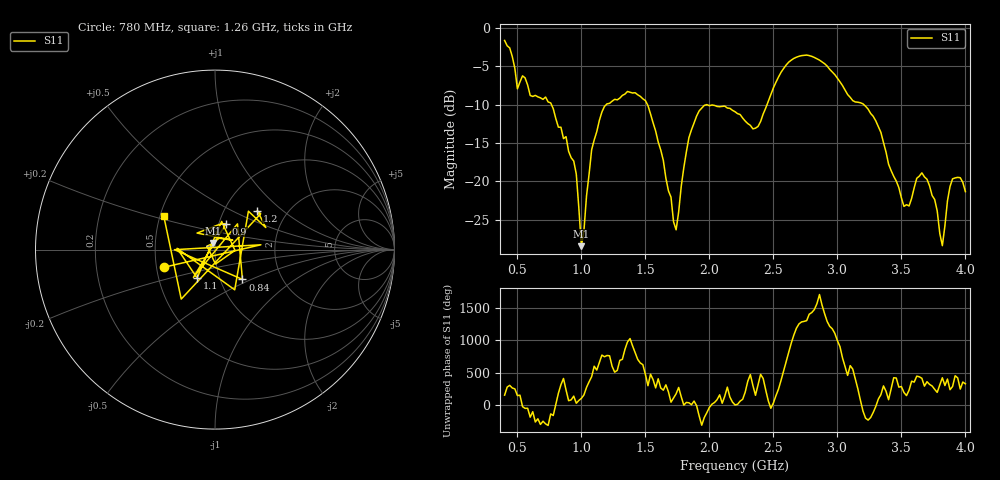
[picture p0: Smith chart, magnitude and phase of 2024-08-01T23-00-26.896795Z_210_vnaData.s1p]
!Created with skrf (http://scikit-rf.org).
# Hz S RI R 50.0
!freq ReS11 ImS11
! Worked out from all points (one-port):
!   181 points, 400 MHz to 4 GHz, reference 50 ohm
!   lowest |S11| = -28.4 dB at 1 GHz (marker M1), VSWR 1.08, Z = 49 + j3.62 ohm
!   |S11| at or under -10 dB: 1.517 GHz to 1.975 GHz (458.5 MHz wide, 26.3 % of centre); 1.983 GHz to 2.45 GHz (466.4 MHz wide, 21 % of centre); 3.208 GHz to end of sweep (the widest 3 of 4)
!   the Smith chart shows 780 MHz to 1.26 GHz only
!   S11 on the Smith chart (normalised r, x): 780 MHz: 0.55, -0.12; 840 MHz: 1.27, -0.45; 900 MHz: 1.08, +0.32; 1.1 GHz: 0.78, -0.26; 1.2 GHz: 1.42, +0.69; 1.26 GHz: 0.52, +0.22
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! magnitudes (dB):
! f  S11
! 400 MHz  -1.6
! 500 MHz  -7.9
! 780 MHz  -10.5
! 840 MHz  -12.9
! 860 MHz  -14.4
! 900 MHz  -16.1
! 960 MHz  -19.0
! 1 GHz  -28.4
! 1.1 GHz  -14.6
! 1.2 GHz  -9.9
! 1.26 GHz  -9.3
! 1.3 GHz  -9.1
! 1.5 GHz  -9.5
! 1.72 GHz  -25.3
! 1.76 GHz  -24.0
! 1.84 GHz  -14.3
! 1.92 GHz  -10.8
! 2.2 GHz  -10.9
! 2.38 GHz  -12.8
! 2.66 GHz  -3.9
! 3.1 GHz  -9.0
! 3.3 GHz  -12.1
! 3.56 GHz  -23.2
! 3.66 GHz  -18.9
! 3.76 GHz  -22.4
! 3.82 GHz  -28.4
! 3.9 GHz  -19.7
! 4 GHz  -21.3
